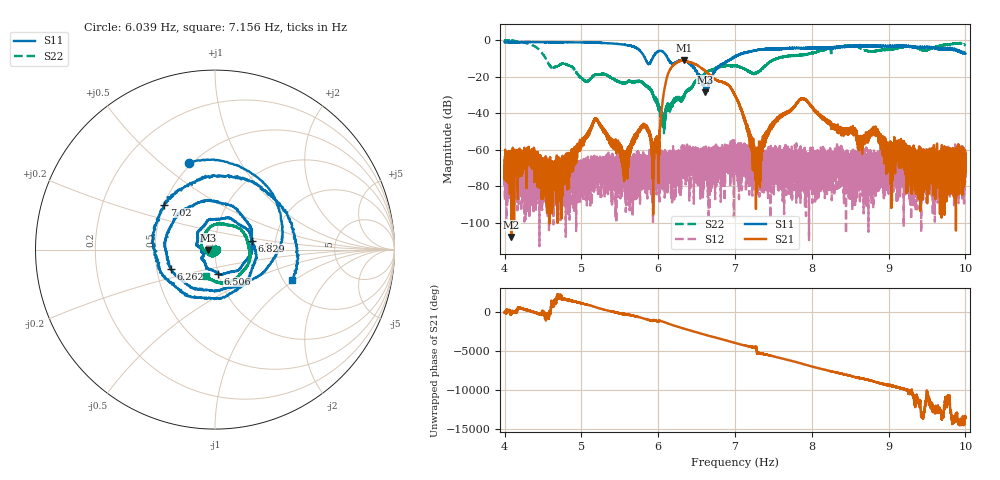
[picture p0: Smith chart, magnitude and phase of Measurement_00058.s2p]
!Created with skrf (http://scikit-rf.org).
# Hz S RI R 50.0
!freq ReS11 ImS11 ReS21 ImS21 ReS12 ImS12 ReS22 ImS22
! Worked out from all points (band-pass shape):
!   14001 points, 4 Hz to 10 Hz, reference 50 ohm
!   highest |S21| = -11.05 dB at 6.338 Hz (marker M1); lowest = -107.6 dB at 4.088 Hz (marker M2)
!   |S21| within 3 dB of the highest: 6.189 Hz to 6.521 Hz (331.8 mHz wide, 5.22 % of centre)
!   lowest |S11| = -28.6 dB at 6.61 Hz (marker M3), VSWR 1.08, Z = 46.4 - j0.208 ohm
!   |S11| at or under -10 dB: 5.83 Hz to 5.926 Hz (95.24 mHz wide, 1.62 % of centre); 6.124 Hz to 6.958 Hz (834.1 mHz wide, 12.8 % of centre); 6.959662 Hz to 6.959768 Hz (106.2 uHz wide, 0.00153 % of centre)
!   |S22| runs from -50.9 to -0.2 dB; largest |S21 - S12| = 0.28
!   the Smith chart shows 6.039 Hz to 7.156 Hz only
!   S11 on the Smith chart (normalised r, x): 6.039 Hz: 0.49, +0.63; 6.262 Hz: 0.59, -0.14; 6.506 Hz: 1.00, -0.27; 6.829 Hz: 1.51, +0.16; 7.02 Hz: 0.50, +0.29; 7.156 Hz: 2.22, -0.96
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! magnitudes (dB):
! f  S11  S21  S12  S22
! 4 Hz  -1.1  -75.9  -74.2  -0.3
! 4.088 Hz  -1.0  -107.6  -70.0  -0.4
! 4.601 Hz  -1.2  -75.6  -77.9  -14.6
! 5 Hz  -1.3  -55.9  -67.5  -20.7
! 5.187 Hz  -1.4  -43.0  -75.6  -18.7
! 5.564 Hz  -2.5  -63.6  -70.7  -23.7
! 5.799 Hz  -7.6  -47.3  -66.8  -23.5
! 6 Hz  -6.1  -61.9  -73.3  -35.1
! 6.039 Hz  -6.0  -39.9  -66.5  -41.2
! 6.262 Hz  -11.4  -11.8  -63.0  -31.5
! 6.338 Hz  -11.1  -11.0  -68.8  -30.6
! 6.506 Hz  -17.4  -13.7  -60.6  -21.5
! 6.61 Hz  -28.6  -16.8  -65.8  -18.1
! 6.829 Hz  -13.4  -22.8  -73.9  -14.5
! 7 Hz  -9.0  -30.4  -58.2  -14.1
! 7.02 Hz  -8.5  -31.8  -66.4  -14.1
! 7.156 Hz  -6.7  -47.2  -60.8  -16.3
! 7.279 Hz  -5.6  -61.4  -67.1  -17.8
! 7.562 Hz  -4.8  -42.9  -62.3  -9.9
! 8 Hz  -4.5  -36.4  -60.8  -6.9
! 9 Hz  -3.4  -71.8  -61.1  -5.0
! 10 Hz  -7.3  -72.2  -74.1  -3.1
